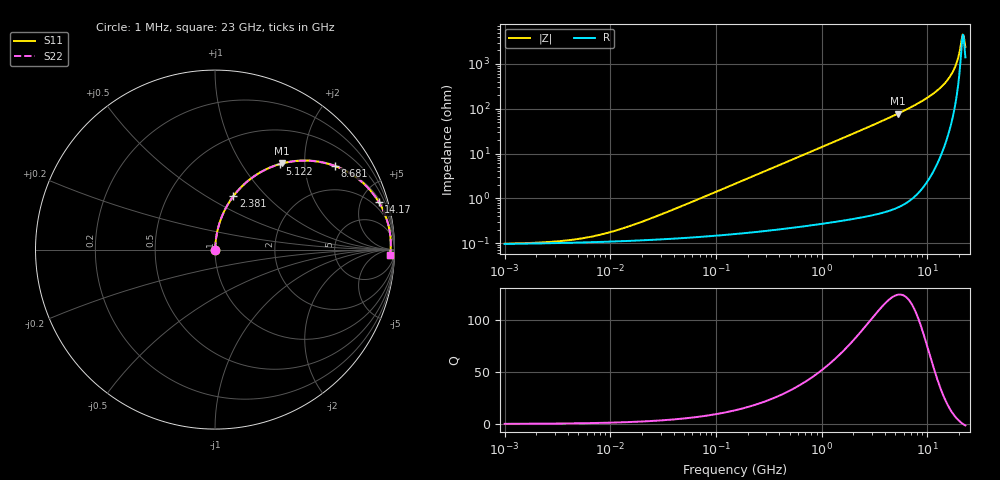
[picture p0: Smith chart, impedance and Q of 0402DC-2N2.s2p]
# MHz  S  MA  R  50
!Freq  MagS11  AngS11  MagS21  AngS21  MagS12  AngS12  MagS22  AngS22
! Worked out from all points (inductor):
!   801 points, 1 MHz to 23 GHz, reference 50 ohm
!   read as one part in series: L = 2.2 nH near 25.87 MHz
!   highest Q = 124 at 5.252 GHz (marker M1), where L = 2.34 nH
!   self-resonance near 21.72 GHz
!   S11 on the Smith chart (normalised r, x): 1 MHz: 1.00, +0.00; 2.381 GHz: 1.01, +0.67; 5.122 GHz: 1.01, +1.50; 8.681 GHz: 1.03, +2.85; 14.17 GHz: 1.24, +6.76; 23 GHz: 29, -39
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1  0.0009649 8.2  0.999 -0.0  0.999 -0.0  0.0009649 8.2
2.663766  0.001056 20.4  0.999 -0.0  0.999 -0.0  0.001056 20.4
5.382456  0.001269 35.8  0.999 -0.0  0.999 -0.0  0.001269 35.8
11.43629  0.001918 55.3  0.9989 -0.1  0.9989 -0.1  0.001918 55.3
28.60921  0.004127 72.9  0.9988 -0.2  0.9988 -0.2  0.004127 72.9
152.0657  0.02104 84.5  0.9982 -1.2  0.9982 -1.2  0.02104 84.5
818.4871  0.1123 82.3  0.9912 -6.4  0.9912 -6.4  0.1123 82.3
2380.639  0.3149 71.0  0.9456 -18.4  0.9456 -18.4  0.3149 71.0
4350.481  0.5288 57.6  0.8443 -31.9  0.8443 -31.9  0.5288 57.6
5122.161  0.5974 52.9  0.7972 -36.7  0.7972 -36.7  0.5974 52.9
5252.468  0.6081 52.1  0.789 -37.5  0.789 -37.5  0.6081 52.1
6837.858  0.7205 43.4  0.6874 -46.1  0.6874 -46.1  0.7205 43.4
8680.936  0.8147 34.8  0.5714 -54.5  0.5714 -54.5  0.8147 34.8
11444.01  0.9029 24.4  0.4139 -64.5  0.4139 -64.5  0.9029 24.4
14168.2  0.9497 16.3  0.2808 -71.6  0.2808 -71.6  0.9497 16.3
16267.49  0.9688 11.1  0.1921 -75.2  0.1921 -75.2  0.9688 11.1
18214.45  0.9776 6.8  0.1193 -75.8  0.1193 -75.8  0.9776 6.8
19395.08  0.9798 4.4  0.0793 -73.0  0.0793 -73.0  0.9798 4.4
20913.27  0.9799 1.6  0.03465 -53.7  0.03465 -53.7  0.9799 1.6
21445.3  0.9793 0.7  0.02398 -30.0  0.02398 -30.0  0.9793 0.7
22268.83  0.9779 -0.7  0.02516 28.0  0.02516 28.0  0.9779 -0.7
23000  0.9761 -1.9  0.04033 52.6  0.04033 52.6  0.9761 -1.9
